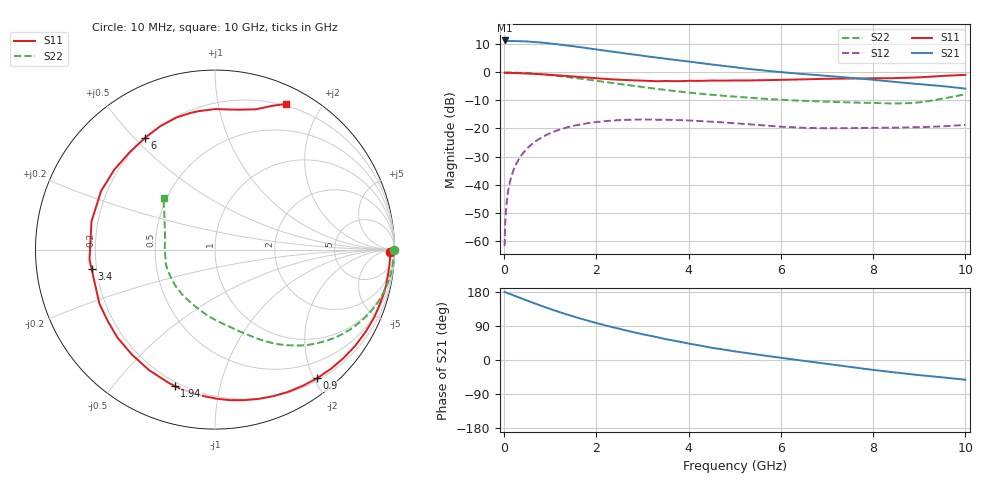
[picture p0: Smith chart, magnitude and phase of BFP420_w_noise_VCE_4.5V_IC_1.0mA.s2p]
! Infineon Technologies  Discrete & RF Semiconductors
! BFP420
! VCE =  4.5 V,  IC =  1.0 mA
! Common Emitter S-Parameters:  Jan 2016
# GHz  S  MA  R  50
!  f  S11  S21  S12  S22
! GHz  MAG  ANG  MAG  ANG  MAG  ANG  MAG  ANG
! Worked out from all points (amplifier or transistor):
!   233 points, 10 MHz to 10 GHz, reference 50 ohm
!   highest |S21| = 11.3 dB at 10 MHz (marker M1)
!   |S21| within 3 dB of that: start of sweep to 1.916 GHz
!   unconditionally stable (mu >= 1): 4.369 GHz to end of sweep
!   at 200 MHz: K = 0.04, MSG = 23.0 dB, |S12| = -34.9 dB
!   at 1.74 GHz: K = 0.26, MSG = 13.5 dB, |S12| = -18.3 dB
!   at 10 GHz: K = 1.35, MAG = 2.9 dB, |S12| = -18.7 dB
!   lowest NFmin = 0.53 dB at 900 MHz
!   S11 on the Smith chart (normalised r, x): 10 MHz: 59, -40; 900 MHz: 0.23, -2.05; 1.94 GHz: 0.18, -0.73; 3.4 GHz: 0.18, -0.07; 6 GHz: 0.20, +0.54; 10 GHz: 0.18, +1.58
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0.01  0.9771 -0.9  3.694 179.4  0.0008 33.8  0.9974 0.0
0.02  0.9736 -1.1  3.564 179.4  0.0018 72.7  0.9959 -0.5
0.03  0.9745 -1.7  3.571 178.8  0.0027 77.5  0.996 -0.8
0.06  0.9761 -3.5  3.592 177.2  0.0053 82.3  0.9962 -1.7
0.12  0.9743 -7.0  3.611 174.5  0.0107 83.5  0.9953 -3.6
0.2  0.974 -11.5  3.612 170.8  0.0179 81.7  0.9924 -5.9
0.48  0.9571 -27.6  3.549 157.7  0.0424 73.1  0.9701 -14.0
0.7  0.9368 -40.3  3.456 147.6  0.0605 65.6  0.942 -20.2
0.9  0.915 -51.6  3.332 138.8  0.0754 59.1  0.9104 -25.5
1.26  0.8707 -71.5  3.078 124.0  0.0987 48.0  0.8453 -34.3
1.68  0.8203 -93.5  2.782 108.4  0.1192 36.0  0.7653 -43.2
1.94  0.7923 -106.4  2.597 99.5  0.1285 29.2  0.7174 -48.1
2.2  0.7652 -118.8  2.43 91.1  0.1355 23.0  0.6715 -52.6
2.6  0.7322 -137.8  2.191 79.0  0.1423 13.9  0.6049 -59.0
3  0.7108 -155.0  1.977 68.0  0.1445 5.9  0.547 -64.8
3.4  0.6962 -171.2  1.789 57.9  0.143 -1.0  0.4963 -70.5
4  0.7058 167.2  1.559 43.3  0.1388 -9.6  0.4355 -79.7
5.1  0.7156 139.4  1.2 21.1  0.1225 -20.5  0.3635 -98.4
6  0.7349 122.0  1.008 5.8  0.1074 -23.7  0.3246 -114.9
6.8  0.7596 109.1  0.889 -7.0  0.1014 -22.4  0.3037 -131.3
8.4  0.7859 83.0  0.683 -31.9  0.1033 -20.5  0.2792 -175.2
10  0.9015 64.1  0.512 -52.1  0.1156 -18.6  0.4063 134.9
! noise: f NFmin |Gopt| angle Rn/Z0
0.9  0.53  0.67  34  0.35
1.8  1.15  0.44  77  0.27
2.4  1.28  0.44  100  0.22
3  1.61  0.45  131  0.15
4  1.9  0.47  -177  0.09
5  2.32  0.44  -133  0.45
6  3.43  0.6  -118  0.25
